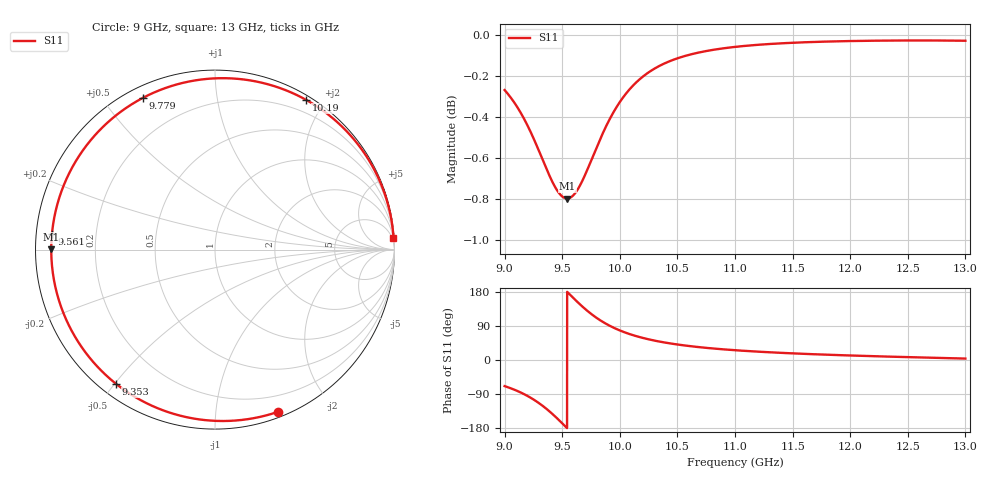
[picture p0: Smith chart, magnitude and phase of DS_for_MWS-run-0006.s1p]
! TOUCHSTONE file generated by CST DESIGN STUDIO
! Date and time: Wed Feb  5 13:42:22 2025
! Project name: C:\Work\MatlabApps\UnitCellOptimizationMatlab\CST\unitcell.cst
! Tree item: Tasks\Sweep1\SPara1\S-Parameters
! Header version: 2024
! Port assignment regex: !\s*Touchstone port\s*([0-9]+)\s*=\s*(CST MWS port|CST DES external port|CST DES block port)\s*(.+)\s* \(\"(.*)\"\)(\s*mode\s*([0-9]+))?.*
! Touchstone port assignment:
! Touchstone port 1 = CST DES external port 1 ("")
# GHz S MA R 50
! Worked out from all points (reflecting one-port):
!   4001 points, 9 GHz to 13 GHz, reference 50 ohm
!   lowest |S11| = -0.8 dB at 9.543 GHz (marker M1), VSWR 21.83, Z = 2.29 + j0.0415 ohm
!   phase of S11 starts at -69 deg and turns -287 deg over the sweep
!   S11 on the Smith chart (normalised r, x): 9 GHz: 0.05, -1.46; 9.353 GHz: 0.05, -0.50; 9.561 GHz: 0.05, +0.05; 9.779 GHz: 0.05, +0.63; 10.19 GHz: 0.05, +1.78; 13 GHz: 2, +30
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9  0.9695 -68.9
9.1  0.9613 -80.3
9.209  0.9492 -96.6
9.285  0.9389 -111.0
9.353  0.9292 -126.3
9.423  0.92 -144.6
9.463  0.9159 -156.0
9.5  0.9134 -167.0
9.543  0.9124 179.9
9.561  0.9126 174.4
9.615  0.9153 158.2
9.676  0.9216 140.8
9.727  0.9285 127.5
9.779  0.936 115.4
9.826  0.9427 105.6
9.877  0.9495 96.2
9.934  0.9563 87.0
10  0.963 78.0
10.093  0.9705 67.6
10.194  0.9765 58.7
10.334  0.9824 49.2
10.5  0.9869 40.9
10.721  0.9905 32.9
11  0.9932 25.8
11.5  0.9955 17.5
12  0.9965 11.9
12.5  0.9968 7.6
13  0.9966 3.8
